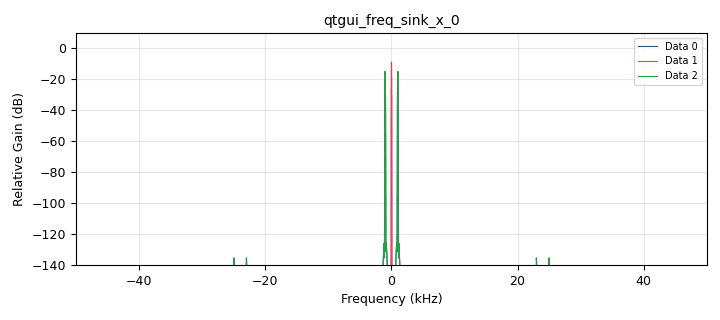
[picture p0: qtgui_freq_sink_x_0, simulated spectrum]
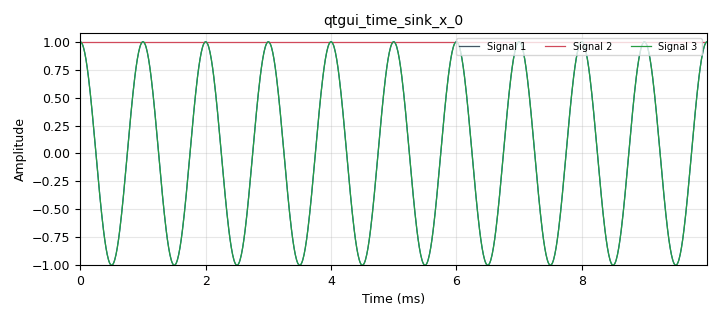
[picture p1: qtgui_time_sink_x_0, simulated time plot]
options:
  parameters:
    author: Daniel Estevez
    generate_options: qt_gui
    id: iq_sampling
    output_language: python
    title: IQ sampling
  states: {}

blocks:
- name: frequency
  id: variable_qtgui_entry
  parameters:
    label: Cosine frequency
    type: real
    value: '1000'
  states: {}
- name: lo_frequency
  id: variable_qtgui_entry
  parameters:
    label: Local oscillator frequency
    type: real
    value: '0'
  states: {}
- name: samp_rate
  id: variable
  parameters:
    value: '100000'
  states: {}
- name: analog_sig_source_x_0
  id: analog_sig_source_x
  parameters:
    amp: '1'
    freq: frequency
    offset: '0'
    phase: '0'
    samp_rate: samp_rate
    type: float
    waveform: analog.GR_COS_WAVE
  states: {}
- name: analog_sig_source_x_0_0
  id: analog_sig_source_x
  parameters:
    amp: '1'
    freq: frequency
    offset: '0'
    phase: '0'
    samp_rate: samp_rate
    type: complex
    waveform: analog.GR_COS_WAVE
  states: {state: disabled}
- name: analog_sig_source_x_0_0_0
  id: analog_sig_source_x
  parameters:
    amp: '1'
    freq: frequency
    offset: '0'
    phase: '0'
    samp_rate: samp_rate
    type: float
    waveform: analog.GR_COS_WAVE
  states: {state: disabled}
- name: analog_sig_source_x_1
  id: analog_sig_source_x
  parameters:
    amp: '1'
    freq: lo_frequency
    offset: '0'
    phase: '0'
    samp_rate: samp_rate
    type: float
    waveform: analog.GR_COS_WAVE
  states: {}
- name: analog_sig_source_x_1_0
  id: analog_sig_source_x
  parameters:
    amp: '1'
    freq: lo_frequency
    offset: '0'
    phase: '0'
    samp_rate: samp_rate
    type: complex
    waveform: analog.GR_COS_WAVE
  states: {state: disabled}
- name: analog_sig_source_x_1_0_0
  id: analog_sig_source_x
  parameters:
    amp: '1'
    freq: lo_frequency
    offset: '0'
    phase: '0'
    samp_rate: samp_rate
    type: complex
    waveform: analog.GR_COS_WAVE
  states: {state: disabled}
- name: blocks_complex_to_float_0
  id: blocks_complex_to_float
  parameters: {}
  states: {state: disabled}
- name: blocks_float_to_complex_0
  id: blocks_float_to_complex
  parameters: {}
  states: {state: disabled}
- name: blocks_float_to_complex_0_0
  id: blocks_float_to_complex
  parameters: {}
  states: {state: disabled}
- name: blocks_float_to_complex_1
  id: blocks_float_to_complex
  parameters: {}
  states: {state: disabled}
- name: blocks_multiply_xx_0
  id: blocks_multiply_xx
  parameters:
    type: float
  states: {}
- name: blocks_multiply_xx_0_0
  id: blocks_multiply_xx
  parameters:
    type: complex
  states: {state: disabled}
- name: blocks_multiply_xx_0_0_0
  id: blocks_multiply_xx
  parameters:
    type: complex
  states: {state: disabled}
- name: blocks_null_source_0
  id: blocks_null_source
  parameters:
    type: float
  states: {state: disabled}
- name: blocks_null_source_1
  id: blocks_null_source
  parameters:
    type: float
  states: {state: disabled}
- name: blocks_throttle2_0
  id: blocks_throttle2
  parameters:
    samples_per_second: samp_rate
    type: float
  states: {}
- name: blocks_throttle2_0_0
  id: blocks_throttle2
  parameters:
    samples_per_second: samp_rate
    type: complex
  states: {state: disabled}
- name: blocks_throttle2_0_0_0
  id: blocks_throttle2
  parameters:
    samples_per_second: samp_rate
    type: complex
  states: {state: disabled}
- name: hilbert_fc_0
  id: hilbert_fc
  parameters:
    num_taps: '65'
  states: {state: disabled}
- name: qtgui_const_sink_x_0
  id: qtgui_const_sink_x
  parameters:
    grid: 'True'
    gui_hint: 0,1
    nconnections: '3'
    size: '1000'
    type: complex
  states: {state: disabled}
- name: qtgui_freq_sink_x_0
  id: qtgui_freq_sink_x
  parameters:
    bw: samp_rate
    fc: '0'
    fftsize: '4096'
    nconnections: '3'
    type: float
  states: {}
- name: qtgui_freq_sink_x_0_0
  id: qtgui_freq_sink_x
  parameters:
    bw: samp_rate
    fc: '0'
    fftsize: '4096'
    nconnections: '3'
    type: complex
  states: {state: disabled}
- name: qtgui_freq_sink_x_0_0_0
  id: qtgui_freq_sink_x
  parameters:
    bw: samp_rate
    fc: '0'
    fftsize: '4096'
    nconnections: '3'
    type: complex
  states: {state: disabled}
- name: qtgui_time_sink_x_0
  id: qtgui_time_sink_x
  parameters:
    nconnections: '3'
    size: '1000'
    srate: samp_rate
    type: float
  states: {}
- name: qtgui_time_sink_x_0_0
  id: qtgui_time_sink_x
  parameters:
    gui_hint: 0,0
    nconnections: '3'
    size: '1000'
    srate: samp_rate
    type: complex
  states: {state: disabled}
- name: qtgui_time_sink_x_0_0_0
  id: qtgui_time_sink_x
  parameters:
    gui_hint: 0,0
    nconnections: '3'
    size: '1000'
    srate: samp_rate
    type: complex
  states: {state: disabled}

connections:
- [analog_sig_source_x_0, '0', blocks_multiply_xx_0, '0']
- [analog_sig_source_x_0, '0', blocks_throttle2_0, '0']
- [analog_sig_source_x_0_0, '0', blocks_multiply_xx_0_0, '0']
- [analog_sig_source_x_0_0, '0', blocks_throttle2_0_0, '0']
- [analog_sig_source_x_0_0_0, '0', blocks_float_to_complex_1, '0']
- [analog_sig_source_x_0_0_0, '0', hilbert_fc_0, '0']
- [analog_sig_source_x_1, '0', blocks_multiply_xx_0, '1']
- [analog_sig_source_x_1, '0', qtgui_freq_sink_x_0, '1']
- [analog_sig_source_x_1, '0', qtgui_time_sink_x_0, '1']
- [analog_sig_source_x_1_0, '0', blocks_multiply_xx_0_0, '1']
- [analog_sig_source_x_1_0, '0', qtgui_freq_sink_x_0_0, '1']
- [analog_sig_source_x_1_0, '0', qtgui_time_sink_x_0_0, '1']
- [analog_sig_source_x_1_0_0, '0', blocks_multiply_xx_0_0_0, '1']
- [analog_sig_source_x_1_0_0, '0', qtgui_freq_sink_x_0_0_0, '1']
- [analog_sig_source_x_1_0_0, '0', qtgui_time_sink_x_0_0_0, '1']
- [blocks_complex_to_float_0, '0', blocks_float_to_complex_0, '0']
- [blocks_complex_to_float_0, '1', blocks_float_to_complex_0_0, '1']
- [blocks_float_to_complex_0, '0', qtgui_const_sink_x_0, '1']
- [blocks_float_to_complex_0_0, '0', qtgui_const_sink_x_0, '2']
- [blocks_float_to_complex_1, '0', blocks_throttle2_0_0_0, '0']
- [blocks_multiply_xx_0, '0', qtgui_freq_sink_x_0, '2']
- [blocks_multiply_xx_0, '0', qtgui_time_sink_x_0, '2']
- [blocks_multiply_xx_0_0, '0', qtgui_freq_sink_x_0_0, '2']
- [blocks_multiply_xx_0_0, '0', qtgui_time_sink_x_0_0, '2']
- [blocks_multiply_xx_0_0_0, '0', qtgui_freq_sink_x_0_0_0, '2']
- [blocks_multiply_xx_0_0_0, '0', qtgui_time_sink_x_0_0_0, '2']
- [blocks_null_source_0, '0', blocks_float_to_complex_0, '1']
- [blocks_null_source_0, '0', blocks_float_to_complex_0_0, '0']
- [blocks_null_source_1, '0', blocks_float_to_complex_1, '1']
- [blocks_throttle2_0, '0', qtgui_freq_sink_x_0, '0']
- [blocks_throttle2_0, '0', qtgui_time_sink_x_0, '0']
- [blocks_throttle2_0_0, '0', blocks_complex_to_float_0, '0']
- [blocks_throttle2_0_0, '0', qtgui_const_sink_x_0, '0']
- [blocks_throttle2_0_0, '0', qtgui_freq_sink_x_0_0, '0']
- [blocks_throttle2_0_0, '0', qtgui_time_sink_x_0_0, '0']
- [blocks_throttle2_0_0_0, '0', blocks_multiply_xx_0_0_0, '0']
- [blocks_throttle2_0_0_0, '0', qtgui_freq_sink_x_0_0_0, '0']
- [blocks_throttle2_0_0_0, '0', qtgui_time_sink_x_0_0_0, '0']
- [hilbert_fc_0, '0', blocks_throttle2_0_0_0, '0']

metadata:
  file_format: 1
  grc_version: 3.10.12.0
